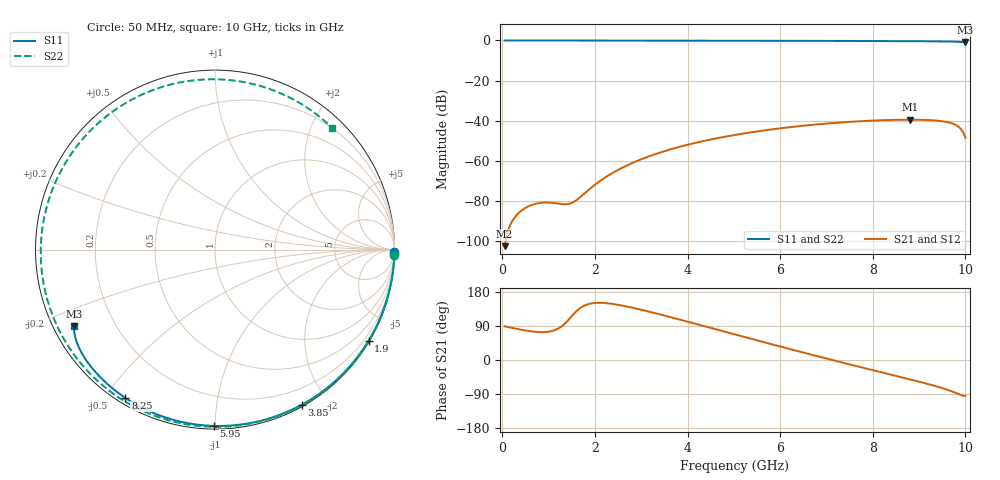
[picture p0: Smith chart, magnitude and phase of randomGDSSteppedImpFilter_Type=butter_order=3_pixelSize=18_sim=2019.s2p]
! freq	dB(S11)	phase(S11)	dB(S12)	phase(S12)
!  dB(S21)	phase(S21)	dB(S22)	phase(S22)
!S-par simulation data
#  GHz  S  DB  R 50
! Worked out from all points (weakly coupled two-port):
!   200 points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, 50 MHz to 10 GHz, reference 50 ohm
!   highest |S21| = -39.45 dB at 8.8 GHz (marker M1); lowest = -102.4 dB at 50 MHz (marker M2)
!   lowest |S11| = -1.0 dB at 10 GHz (marker M3), VSWR 17.83, Z = 2.98 - j12.6 ohm
!   |S11| at or under -10 dB: nowhere
!   |S22| runs from -0.5 to 0.0 dB; largest |S21 - S12| = 0
!   S11 on the Smith chart (normalised r, x): 50 MHz: open; 1.9 GHz: 0.03, -3.64; 3.85 GHz: 0.02, -1.71; 5.95 GHz: 0.02, -0.99; 8.25 GHz: 0.02, -0.56; 10 GHz: 0.06, -0.25
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0.05  -0.00 -0.8  -102.42 88.7  -102.42 88.7  -0.00 -1.9
0.75  -0.02 -12.3  -81.16 74.1  -81.16 74.1  -0.04 -27.6
1.55  -0.03 -25.2  -80.28 122.6  -80.28 122.6  -0.07 -55.9
1.75  -0.04 -28.4  -76.68 142.1  -76.68 142.1  -0.08 -62.7
1.9  -0.04 -30.7  -73.71 148.7  -73.71 148.7  -0.08 -67.8
2.2  -0.05 -35.5  -68.54 150.4  -68.54 150.4  -0.09 -77.7
2.55  -0.05 -40.9  -63.83 144.6  -63.83 144.6  -0.11 -88.9
3.4  -0.07 -53.9  -55.87 120.5  -55.87 120.5  -0.14 -115.0
3.85  -0.08 -60.6  -52.83 106.1  -52.83 106.1  -0.16 -128.1
4.45  -0.10 -69.4  -49.55 86.4  -49.55 86.4  -0.18 -145.2
5.05  -0.12 -78.0  -46.93 66.6  -46.93 66.6  -0.22 -161.9
5.95  -0.16 -90.4  -43.89 37.3  -43.89 37.3  -0.27 173.0
6.7  -0.19 -100.6  -41.99 13.3  -41.99 13.3  -0.32 151.6
7.55  -0.25 -111.8  -40.45 -13.2  -40.45 -13.2  -0.38 126.3
8.25  -0.30 -121.1  -39.68 -34.5  -39.68 -34.5  -0.43 104.3
8.35  -0.31 -122.5  -39.61 -37.5  -39.61 -37.5  -0.43 101.1
8.8  -0.36 -128.7  -39.45 -51.1  -39.45 -51.1  -0.46 86.4
9.35  -0.45 -136.9  -39.85 -68.7  -39.85 -68.7  -0.49 68.1
9.7  -0.57 -143.4  -41.20 -82.4  -41.20 -82.4  -0.51 56.3
9.9  -0.76 -148.3  -43.99 -92.5  -43.99 -92.5  -0.52 49.6
9.95  -0.85 -149.9  -45.63 -94.6  -45.63 -94.6  -0.53 48.0
10  -0.98 -151.6  -48.39 -94.1  -48.39 -94.1  -0.53 46.3
